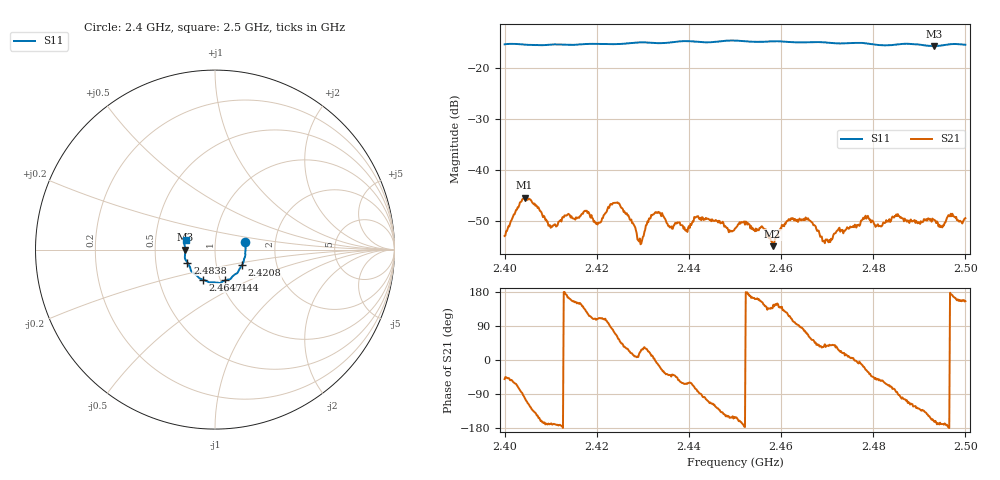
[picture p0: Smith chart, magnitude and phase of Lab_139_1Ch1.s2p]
# Hz S RI R 50
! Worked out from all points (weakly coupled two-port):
!   601 points, 2.4 GHz to 2.5 GHz, reference 50 ohm
!   highest |S21| = -45.36 dB at 2.4043 GHz (marker M1); lowest = -54.8 dB at 2.4582 GHz (marker M2)
!   lowest |S11| = -15.6 dB at 2.4932 GHz (marker M3), VSWR 1.40, Z = 35.8 - j0.0867 ohm
!   |S11| at or under -10 dB: start of sweep to end of sweep
!   S12 and S22 are empty: the file has one direction only
!   S11 on the Smith chart (normalised r, x): 2.4 GHz: 1.40, +0.12; 2.4208 GHz: 1.33, -0.24; 2.444 GHz: 1.06, -0.37; 2.4647 GHz: 0.83, -0.29; 2.4838 GHz: 0.73, -0.11; 2.5 GHz: 0.72, +0.08
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2.4e9  0.1676 0.041  0.00145 -0.00175  0 0  0 0
2.404333e9  0.1705 0.0149  -0.000872 -0.00532  0 0  0 0
2.41e9  0.1691 -0.0279  -0.00268 -0.000577  0 0  0 0
2.416667e9  0.1589 -0.0681  -0.00307 0.00208  0 0  0 0
2.420833e9  0.1506 -0.087  -0.0011 0.00291  0 0  0 0
2.4245e9  0.1377 -0.1052  0.00245 0.0042  0 0  0 0
2.429333e9  0.1263 -0.1283  0.00202 0.000739  0 0  0 0
2.433333e9  0.108 -0.1402  0.00383 -0.00085  0 0  0 0
2.439333e9  0.084 -0.1652  0.00115 -0.00229  0 0  0 0
2.444e9  0.0581 -0.1707  -0.00099 -0.00322  0 0  0 0
2.45e9  0.0245 -0.1864  -0.0024 -0.00124  0 0  0 0
2.456167e9  -0.0151 -0.1819  -0.00225 0.00149  0 0  0 0
2.458167e9  -0.0266 -0.183  -0.00132 0.00123  0 0  0 0
2.461667e9  -0.0448 -0.1763  -0.00144 0.00301  0 0  0 0
2.464667e9  -0.0671 -0.167  0.000381 0.00327  0 0  0 0
2.466667e9  -0.0801 -0.1628  0.00186 0.00249  0 0  0 0
2.469833e9  -0.0927 -0.154  0.00165 0.00128  0 0  0 0
2.478333e9  -0.1353 -0.1135  0.00325 -0.00155  0 0  0 0
2.483333e9  -0.1504 -0.0762  0.0012 -0.00292  0 0  0 0
2.483833e9  -0.1532 -0.072  0.00108 -0.003  0 0  0 0
2.493167e9  -0.1659 -0.00118  -0.00312 -0.00102  0 0  0 0
2.5e9  -0.1625 0.0527  -0.00309 0.00143  0 0  0 0
